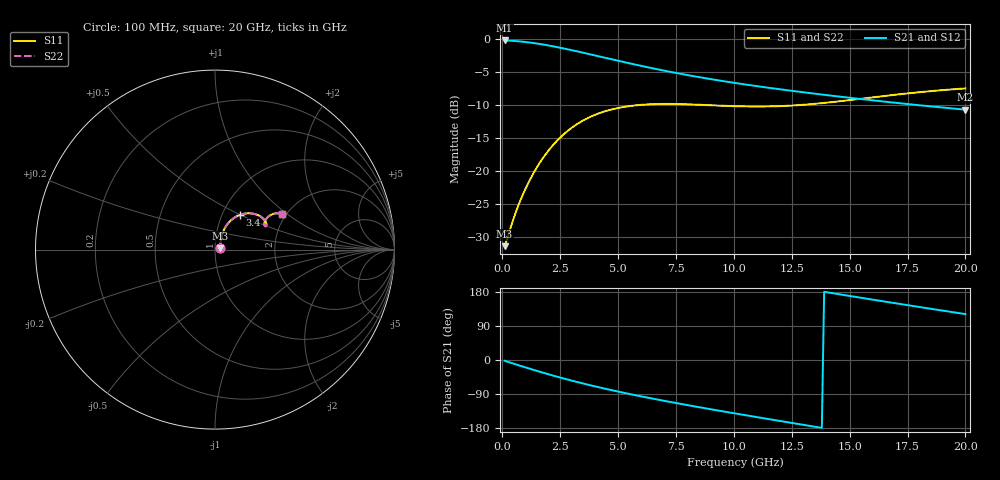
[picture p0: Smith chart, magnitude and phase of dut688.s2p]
! Touchstone file exported from HFSS 2024.1.0
!  File:  C:/UserFiles/LocalFiles/RDL_TSV_Batchsim/temp_RDL_TSV_688_1779818796.aedt
!  Generated:  02:19:31 AM May 27, 2026
!  Design:  RDL_TSV
!  Project:  temp_RDL_TSV_688_1779818796
!  Setup:  Setup1
!  Solution:  Sweep
! Variables:
!  dtsv = 8.5um
!  hbump = 3um
!  htsv = 77.95um
!  ldown = 342.84um
!  lrdl = 600.69um
!  p = 40
!  p1 = 48.08um
!  rhole = 10um
!  subl = 3431.28um
!  t = 450um
!  tdown = 4.97um
!  trdl = 2.73um
!  viad = 10um
!  wdown = 18.97um
!  wrdl = 14.3um
!  xbump = 18um
# GHz S MA R 50.000000
! Terminal data exported
! Port[1] = TM1_1_T1
! Port[2] = TM1_4_T1
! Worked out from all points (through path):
!   200 points, 100 MHz to 20 GHz, reference 50 ohm
!   highest |S21| = -0.23 dB at 100 MHz (marker M1); lowest = -10.7 dB at 20 GHz (marker M2)
!   group delay of S21, straight-line fit = 31.4 ps
!   lowest |S11| = -31.4 dB at 100 MHz (marker M3), VSWR 1.06, Z = 52.7 + j0.744 ohm
!   |S11| at or under -10 dB: start of sweep to 5.948 GHz; 8.684 GHz to 12.93 GHz (4.243 GHz wide, 39.3 % of centre)
!   |S22| runs from -31.4 to -7.5 dB; largest |S21 - S12| = 1.5e-14
!   S11 on the Smith chart (normalised r, x): 100 MHz: 1.05, +0.01; 3.4 GHz: 1.21, +0.49; 20 GHz: 1.89, +0.92
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0.1  0.0269 15.2  0.9739 -2.0  0.9739 -2.0  0.0269 15.2
! Gamma 0 0 0 0
! Port Impedance 50 0 50 0
0.5  0.0442 48.4  0.966 -10.0  0.966 -10.0  0.04421 48.4
0.8  0.06095 58.0  0.9563 -15.8  0.9563 -15.8  0.06095 58.0
1.1  0.07961 63.0  0.9437 -21.4  0.9437 -21.4  0.07959 62.9
1.5  0.1069 65.5  0.923 -28.9  0.923 -28.9  0.1068 65.5
1.9  0.1357 65.3  0.8987 -36.0  0.8987 -36.0  0.1357 65.3
2.4  0.1719 62.8  0.8651 -44.6  0.8651 -44.6  0.1718 62.8
2.9  0.206 59.0  0.8294 -52.8  0.8294 -52.8  0.2058 59.0
3.4  0.2361 54.6  0.7931 -60.7  0.7931 -60.7  0.236 54.6
3.5  0.2416 53.7  0.7859 -62.2  0.7859 -62.2  0.2414 53.7
4.2  0.2742 47.5  0.7363 -72.4  0.7363 -72.4  0.2741 47.5
5.1  0.3021 40.3  0.6773 -84.6  0.6773 -84.6  0.302 40.3
5.9  0.3157 35.0  0.6303 -94.8  0.6303 -94.8  0.3156 35.0
6.8  0.3216 30.4  0.5841 -105.5  0.5841 -105.5  0.3215 30.4
8.4  0.3178 25.6  0.5171 -123.5  0.5171 -123.5  0.3178 25.6
10.1  0.3091 24.8  0.4625 -141.5  0.4625 -141.5  0.3092 24.8
11.7  0.3084 26.9  0.422 -158.0  0.422 -158.0  0.3085 26.9
13.4  0.3212 29.8  0.3866 -175.1  0.3866 -175.1  0.3214 29.8
15.1  0.3456 31.6  0.3566 168.0  0.3566 168.0  0.3458 31.6
16.7  0.3731 31.7  0.3321 152.4  0.3321 152.4  0.3733 31.7
18.3  0.3993 30.5  0.3107 137.1  0.3107 137.1  0.3994 30.4
20  0.4216 28.3  0.2912 121.1  0.2912 121.1  0.4217 28.2
